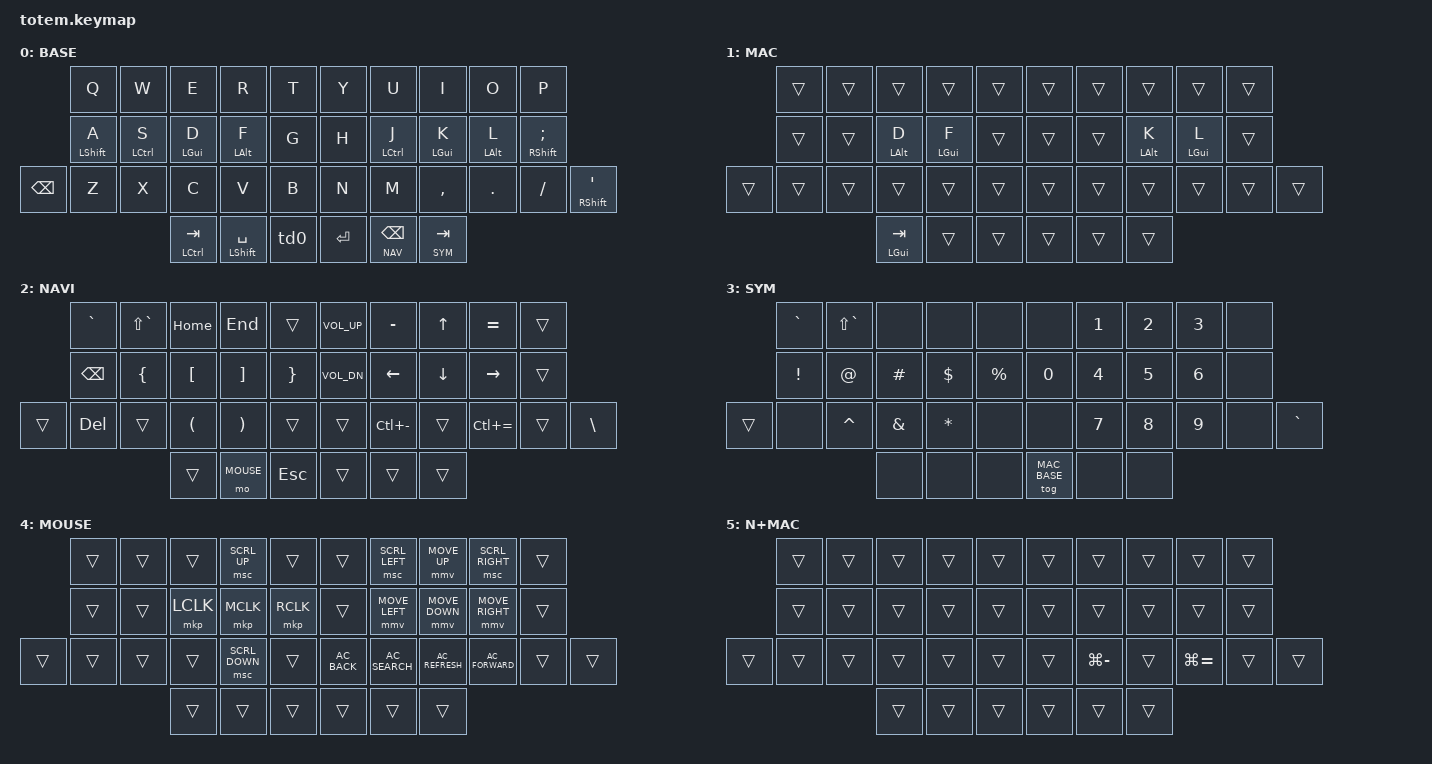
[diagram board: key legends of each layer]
//
//                                                        ▀▀▀▀▀     ▀▀▀▀▀          ▀▀█▀▀
//                                                        ▄▀▀▀▄  ▄  ▄▀▀▀▄  ▄  ▄▀▀▀▄  █  ▄▀▀▀▄
//                                                        █   █  █  █   █  █  █   █  █  █   █
//                                                         ▀▀▀   █   ▀▀▀   █   ▀▀▀   ▀   ▀▀▀
//                                                               █      ▄▄▄█▄▄▄    █   █
//                                                               ▀      █  █  █     █▄█
//                                                             ▀▀▀▀▀    █  █  █      ▀
//                                                                      ▀  ▀  ▀
//
// ▄▄▄▄▄▄▄▄▄▄▄▄▄▄▄▄▄▄▄▄▄▄▄▄▄▄▄▄▄▄▄▄▄▄▄▄▄▄▄▄▄▄▄▄▄▄▄▄▄▄▄▄▄▄▄▄▄▄▄▄▄▄▄▄▄▄▄▄▄▄▄▄▄▄▄▄▄▄▄▄▄▄▄▄▄▄▄▄▄▄▄▄▄▄▄▄▄▄▄▄▄▄▄▄▄▄▄▄▄▄▄▄▄▄▄▄▄▄▄▄▄▄▄▄▄▄▄▄▄▄▄▄▄▄▄▄▄▄▄▄▄▄▄▄▄▄▄▄▄


#include <behaviors.dtsi>
#include <dt-bindings/zmk/keys.h>
#include <dt-bindings/zmk/bt.h>
#include <dt-bindings/zmk/outputs.h>
#include <dt-bindings/zmk/pointing.h>

#define BASE      0
#define MAC_BASE  1
#define NAV       2
#define SYM       3
#define MOUSE     4
#define NAV_MAC   5

&mt {
  flavor = "tap-preferred";
  tapping-term-ms = <250>;
};

/ {
    combos {
            compatible = "zmk,combos";
            combo_mac_toggle {
                timeout-ms = <100>;
                key-positions = <10 23 27>;
                bindings = <&tog MAC_BASE>;
            };
    };

    // MAC_BASE only overrides plain BASE typing (it's layer 1, just above BASE).
    // NAV/SYM/MOUSE are numbered higher so they always win over MAC_BASE's
    // home-row swap when held at the same time -- otherwise MAC_BASE's
    // non-transparent D/F/K/L bindings would clobber NAV's arrow keys and
    // SYM's numbers at those same physical positions (this was a real bug,
    // found 2026-08-01: holding NAV while MAC_BASE was toggled broke arrows).
    // The one Mac-specific override that SHOULD win over NAV (the zoom
    // shortcut becoming Cmd+-/Cmd+= instead of Ctrl+-/Ctrl+=) is handled by
    // this conditional layer instead, which only activates when NAV and
    // MAC_BASE are both active at once.
    conditional_layers {
        compatible = "zmk,conditional-layers";
        mac_nav_zoom {
            if-layers = <NAV MAC_BASE>;
            then-layer = <NAV_MAC>;
        };
    };

    behaviors {
        td0: tap_dance_0 {
            compatible = "zmk,behavior-tap-dance";
            #binding-cells = <0>;
            tapping-term-ms = <200>;
            bindings = <&kp RET>, <&kp ESC>;
        };
    };

        keymap {
                compatible = "zmk,keymap";
// ▄▄▄▄▄▄▄▄▄▄▄▄▄▄▄▄▄▄▄▄▄▄▄▄▄▄▄▄▄▄▄▄▄▄▄▄▄▄▄▄▄▄▄▄▄▄▄▄▄▄▄▄▄▄▄▄▄▄▄▄▄▄▄▄▄▄▄▄▄▄▄▄▄▄▄▄▄▄▄▄▄▄▄▄▄▄▄▄▄▄▄▄▄▄▄▄▄▄▄▄▄▄▄▄▄▄▄▄▄▄▄▄▄▄▄▄▄▄▄▄▄▄▄▄▄▄▄▄▄▄▄▄▄▄▄▄▄▄▄▄▄▄▄▄▄▄▄▄▄

                base_layer {
// ┏━━━━━━━━━━━━━━━━━━━━━━━━━━━━━━━━━━━━━━━┓
label= "BASE"                              ;
// ┗━━━━━━━━━━━━━━━━━━━━━━━━━━━━━━━━━━━━━━━┛
//             ┏━━━━━━━━━━━┳━━━━━━━━━━━┳━━━━━━━━━━━┳━━━━━━━━━━━┳━━━━━━━━━━━┓   ┏━━━━━━━━━━━┳━━━━━━━━━━━┳━━━━━━━━━━━┳━━━━━━━━━━━┳━━━━━━━━━━━┓
//             ┃     Q     ┃     W     ┃     E     ┃     R     ┃     T     ┃   ┃     Y     ┃     U     ┃     I     ┃     O     ┃     P     ┃
//             ┣━━━━━━━━━━━╋━━━━━━━━━━━╋━━━━━━━━━━━╋━━━━━━━━━━━╋━━━━━━━━━━━┫   ┣━━━━━━━━━━━╋━━━━━━━━━━━╋━━━━━━━━━━━╋━━━━━━━━━━━╋━━━━━━━━━━━┫
//             ┃  SHIFT/A  ┃  CTRL/S   ┃  GUI/D    ┃   ALT/F   ┃     G     ┃   ┃     H     ┃  CTRL/J   ┃  GUI/K    ┃   ALT/L   ┃  SHIFT/;  ┃
// ┏━━━━━━━━━━━╋━━━━━━━━━━━╋━━━━━━━━━━━╋━━━━━━━━━━━╋━━━━━━━━━━━╋━━━━━━━━━━━┫   ┣━━━━━━━━━━━╋━━━━━━━━━━━╋━━━━━━━━━━━╋━━━━━━━━━━━╋━━━━━━━━━━━╋━━━━━━━━━━━┓
// ┃   BSPC    ┃     Z     ┃     X     ┃     C     ┃     V     ┃     B     ┃   ┃     N     ┃     M     ┃     ,     ┃     .     ┃     /     ┃SHIFT/QUOT ┃
// ┗━━━━━━━━━━━┻━━━━━━━━━━━┻━━━━━━━━━━━╋━━━━━━━━━━━╋━━━━━━━━━━━╋━━━━━━━━━━━┫   ┣━━━━━━━━━━━╋━━━━━━━━━━━╋━━━━━━━━━━━╋━━━━━━━━━━━┻━━━━━━━━━━━┻━━━━━━━━━━━┛
//                                     ┃ TAB/LCTRL ┃ SPC/SHFT  ┃ ENTR/ESC  ┃   ┃   ENTER   ┃ BSPC/NAV  ┃  SYM/TAB  ┃
//                                     ┗━━━━━━━━━━━┻━━━━━━━━━━━┻━━━━━━━━━━━┛   ┗━━━━━━━━━━━┻━━━━━━━━━━━┻━━━━━━━━━━━┛
 bindings = <
// ╷           ╷           ╷           ╷           ╷           ╷           ╷   ╷           ╷           ╷           ╷           ╷           ╷           ╷

                &kp Q           &kp W           &kp E           &kp R           &kp T               &kp Y           &kp U           &kp I           &kp O           &kp P
                &mt LSHFT A     &mt LCTRL S     &mt LGUI D      &mt LALT F      &kp G               &kp H           &mt LCTRL J     &mt LGUI K      &mt LALT L      &mt RSHFT SEMI
    &kp BSPC    &kp Z           &kp X           &kp C           &kp V           &kp B               &kp N           &kp M           &kp COMMA       &kp DOT         &kp FSLH        &mt RSHFT SQT
                                                &mt LCTRL TAB   &mt LSHFT SPACE &td0                &kp RET         &lt NAV BSPC    &lt SYM TAB
                        >;
                };

// ▄▄▄▄▄▄▄▄▄▄▄▄▄▄▄▄▄▄▄▄▄▄▄▄▄▄▄▄▄▄▄▄▄▄▄▄▄▄▄▄▄▄▄▄▄▄▄▄▄▄▄▄▄▄▄▄▄▄▄▄▄▄▄▄▄▄▄▄▄▄▄▄▄▄▄▄▄▄▄▄▄▄▄▄▄▄▄▄▄▄▄▄▄▄▄▄▄▄▄▄▄▄▄▄▄▄▄▄▄▄▄▄▄▄▄▄▄▄▄▄▄▄▄▄▄▄▄▄▄▄▄▄▄▄▄▄▄▄▄▄▄▄▄▄▄▄▄▄▄


                mac_base_layer {
// ┏━━━━━━━━━━━━━━━━━━━━━━━━━━━━━━━━━━━━━━━┓
label= "MAC"                               ;
// ┗━━━━━━━━━━━━━━━━━━━━━━━━━━━━━━━━━━━━━━━┛
// Layer 1 -- sits just above BASE, below NAV/SYM/MOUSE, so it only overrides
// plain typing and never fights those layers for shared physical keys. Swaps
// GUI<->ALT on the home-row mod-tap keys (D/F left, K/L right) and swaps the
// middle-left thumb key from CTRL to GUI/CMD. The zoom-shortcut override
// (Cmd+-/Cmd+= instead of Ctrl+-/Ctrl+= while NAV is also held) lives in the
// NAV_MAC conditional layer near the bottom of this file, not here.
// Toggled on/off via &tog MAC_BASE — reachable either by holding SYM, then
// tapping the key marked MAC/WIN on the SYM diagram below, or via the
// combo_mac_toggle combo (A + C + M pressed together) defined up top.
// (Moved from NAV to SYM 2026-08-01: NAV's hold key sits right next to this
// thumb key, so fast typing occasionally rolled over both and toggled the
// layer by accident. SYM's hold key has a key between them, so that rollover
// no longer happens.)
//             ┏━━━━━━━━━━━┳━━━━━━━━━━━┳━━━━━━━━━━━┳━━━━━━━━━━━┳━━━━━━━━━━━┓   ┏━━━━━━━━━━━┳━━━━━━━━━━━┳━━━━━━━━━━━┳━━━━━━━━━━━┳━━━━━━━━━━━┓
//             ┃           ┃           ┃           ┃           ┃           ┃   ┃           ┃           ┃           ┃           ┃           ┃
//             ┣━━━━━━━━━━━╋━━━━━━━━━━━╋━━━━━━━━━━━╋━━━━━━━━━━━╋━━━━━━━━━━━┫   ┣━━━━━━━━━━━╋━━━━━━━━━━━╋━━━━━━━━━━━╋━━━━━━━━━━━╋━━━━━━━━━━━┫
//             ┃           ┃           ┃   LALT D  ┃  LGUI F   ┃           ┃   ┃           ┃           ┃  LALT K   ┃   LGUI L  ┃           ┃
// ┏━━━━━━━━━━━╋━━━━━━━━━━━╋━━━━━━━━━━━╋━━━━━━━━━━━╋━━━━━━━━━━━╋━━━━━━━━━━━┫   ┣━━━━━━━━━━━╋━━━━━━━━━━━╋━━━━━━━━━━━╋━━━━━━━━━━━╋━━━━━━━━━━━╋━━━━━━━━━━━┓
// ┃           ┃           ┃           ┃           ┃           ┃           ┃   ┃           ┃           ┃           ┃           ┃           ┃           ┃
// ┗━━━━━━━━━━━┻━━━━━━━━━━━┻━━━━━━━━━━━╋━━━━━━━━━━━╋━━━━━━━━━━━╋━━━━━━━━━━━┫   ┣━━━━━━━━━━━╋━━━━━━━━━━━╋━━━━━━━━━━━╋━━━━━━━━━━━┻━━━━━━━━━━━┻━━━━━━━━━━━┛
//                                     ┃ TAB/LGUI  ┃           ┃           ┃   ┃           ┃           ┃           ┃
//                                     ┗━━━━━━━━━━━┻━━━━━━━━━━━┻━━━━━━━━━━━┛   ┗━━━━━━━━━━━┻━━━━━━━━━━━┻━━━━━━━━━━━┛
 bindings = <
// ╷           ╷           ╷           ╷           ╷           ╷           ╷   ╷           ╷           ╷           ╷           ╷           ╷           ╷

                &trans          &trans          &trans          &trans          &trans              &trans          &trans          &trans          &trans          &trans
                &trans          &trans          &mt LALT D      &mt LGUI F      &trans              &trans          &trans          &mt LALT K      &mt LGUI L      &trans
    &trans          &trans      &trans          &trans          &trans          &trans              &trans          &trans          &trans          &trans          &trans          &trans
                                                &mt LGUI TAB    &trans          &trans              &trans          &trans          &trans
                        >;
                };

// ▄▄▄▄▄▄▄▄▄▄▄▄▄▄▄▄▄▄▄▄▄▄▄▄▄▄▄▄▄▄▄▄▄▄▄▄▄▄▄▄▄▄▄▄▄▄▄▄▄▄▄▄▄▄▄▄▄▄▄▄▄▄▄▄▄▄▄▄▄▄▄▄▄▄▄▄▄▄▄▄▄▄▄▄▄▄▄▄▄▄▄▄▄▄▄▄▄▄▄▄▄▄▄▄▄▄▄▄▄▄▄▄▄▄▄▄▄▄▄▄▄▄▄▄▄▄▄▄▄▄▄▄▄▄▄▄▄▄▄▄▄▄▄▄▄▄▄▄▄


                nav_layer {
// ┏━━━━━━━━━━━━━━━━━━━━━━━━━━━━━━━━━━━━━━━┓
label= "NAVI"                              ;
// ┗━━━━━━━━━━━━━━━━━━━━━━━━━━━━━━━━━━━━━━━┛
//             ┏━━━━━━━━━━━┳━━━━━━━━━━━┳━━━━━━━━━━━┳━━━━━━━━━━━┳━━━━━━━━━━━┓   ┏━━━━━━━━━━━┳━━━━━━━━━━━┳━━━━━━━━━━━┳━━━━━━━━━━━┳━━━━━━━━━━━┓
//             ┃     `     ┃     ~     ┃    HOME   ┃    END    ┃           ┃   ┃    VOL+   ┃     -     ┃     UP    ┃     =     ┃           ┃
//             ┣━━━━━━━━━━━╋━━━━━━━━━━━╋━━━━━━━━━━━╋━━━━━━━━━━━╋━━━━━━━━━━━┫   ┣━━━━━━━━━━━╋━━━━━━━━━━━╋━━━━━━━━━━━╋━━━━━━━━━━━╋━━━━━━━━━━━┫
//             ┃    BSPC   ┃     {     ┃     [     ┃     ]     ┃     }     ┃   ┃    VOL-   ┃   LEFT    ┃    DOWN   ┃   RIGHT   ┃           ┃
// ┏━━━━━━━━━━━╋━━━━━━━━━━━╋━━━━━━━━━━━╋━━━━━━━━━━━╋━━━━━━━━━━━╋━━━━━━━━━━━┫   ┣━━━━━━━━━━━╋━━━━━━━━━━━╋━━━━━━━━━━━╋━━━━━━━━━━━╋━━━━━━━━━━━╋━━━━━━━━━━━┓
// ┃           ┃    DEL    ┃           ┃     (     ┃     )     ┃           ┃   ┃           ┃   ZOOM-   ┃           ┃  ZOOM+    ┃           ┃    \      ┃
// ┗━━━━━━━━━━━┻━━━━━━━━━━━┻━━━━━━━━━━━╋━━━━━━━━━━━╋━━━━━━━━━━━╋━━━━━━━━━━━┫   ┣━━━━━━━━━━━╋━━━━━━━━━━━╋━━━━━━━━━━━╋━━━━━━━━━━━┻━━━━━━━━━━━┻━━━━━━━━━━━┛
//                                     ┃           ┃   MOUSE   ┃    ESC    ┃   ┃           ┃           ┃           ┃
//                                     ┗━━━━━━━━━━━┻━━━━━━━━━━━┻━━━━━━━━━━━┛   ┗━━━━━━━━━━━┻━━━━━━━━━━━┻━━━━━━━━━━━┛
 bindings = <
// ╷           ╷           ╷           ╷           ╷           ╷           ╷   ╷           ╷           ╷           ╷           ╷           ╷           ╷

                &kp GRAVE       &kp LS(GRAVE)   &kp HOME        &kp END         &trans              &kp C_VOL_UP          &kp MINUS       &kp UP          &kp EQUAL      &trans 
                &kp BSPC        &kp LBRC        &kp LBKT        &kp RBKT        &kp RBRC            &kp C_VOL_DN          &kp LEFT        &kp DOWN        &kp RIGHT      &trans 
        &trans  &kp DEL         &trans          &kp LPAR        &kp RPAR        &trans              &trans          &kp LC(MINUS)   &trans          &kp LC(EQUAL)   &trans          &kp BSLH
                                                &trans          &mo MOUSE       &kp ESC             &trans          &trans          &trans
                        >;
                };

// ▄▄▄▄▄▄▄▄▄▄▄▄▄▄▄▄▄▄▄▄▄▄▄▄▄▄▄▄▄▄▄▄▄▄▄▄▄▄▄▄▄▄▄▄▄▄▄▄▄▄▄▄▄▄▄▄▄▄▄▄▄▄▄▄▄▄▄▄▄▄▄▄▄▄▄▄▄▄▄▄▄▄▄▄▄▄▄▄▄▄▄▄▄▄▄▄▄▄▄▄▄▄▄▄▄▄▄▄▄▄▄▄▄▄▄▄▄▄▄▄▄▄▄▄▄▄▄▄▄▄▄▄▄▄▄▄▄▄▄▄▄▄▄▄▄▄▄▄▄


                sim_layer {
// ┏━━━━━━━━━━━━━━━━━━━━━━━━━━━━━━━━━━━━━━━┓
label= "SYM"                               ;
// ┗━━━━━━━━━━━━━━━━━━━━━━━━━━━━━━━━━━━━━━━┛
//             ┏━━━━━━━━━━━┳━━━━━━━━━━━┳━━━━━━━━━━━┳━━━━━━━━━━━┳━━━━━━━━━━━┓   ┏━━━━━━━━━━━┳━━━━━━━━━━━┳━━━━━━━━━━━┳━━━━━━━━━━━┳━━━━━━━━━━━┓
//             ┃     `     ┃     ~     ┃           ┃           ┃           ┃   ┃           ┃     1     ┃     2     ┃     3     ┃           ┃
//             ┣━━━━━━━━━━━╋━━━━━━━━━━━╋━━━━━━━━━━━╋━━━━━━━━━━━╋━━━━━━━━━━━┫   ┣━━━━━━━━━━━╋━━━━━━━━━━━╋━━━━━━━━━━━╋━━━━━━━━━━━╋━━━━━━━━━━━┫
//             ┃     !     ┃     @     ┃     #     ┃     $     ┃     %     ┃   ┃     0     ┃     4     ┃     5     ┃     6     ┃           ┃
// ┏━━━━━━━━━━━╋━━━━━━━━━━━╋━━━━━━━━━━━╋━━━━━━━━━━━╋━━━━━━━━━━━╋━━━━━━━━━━━┫   ┣━━━━━━━━━━━╋━━━━━━━━━━━╋━━━━━━━━━━━╋━━━━━━━━━━━╋━━━━━━━━━━━╋━━━━━━━━━━━┓
// ┃           ┃           ┃     ^     ┃     &     ┃     *     ┃           ┃   ┃           ┃     7     ┃     8     ┃     9     ┃           ┃     `     ┃
// ┗━━━━━━━━━━━┻━━━━━━━━━━━┻━━━━━━━━━━━╋━━━━━━━━━━━╋━━━━━━━━━━━╋━━━━━━━━━━━┫   ┣━━━━━━━━━━━╋━━━━━━━━━━━╋━━━━━━━━━━━╋━━━━━━━━━━━┻━━━━━━━━━━━┻━━━━━━━━━━━┛
//                                     ┃           ┃           ┃           ┃   ┃  MAC/WIN  ┃           ┃           ┃
//                                     ┗━━━━━━━━━━━┻━━━━━━━━━━━┻━━━━━━━━━━━┛   ┗━━━━━━━━━━━┻━━━━━━━━━━━┻━━━━━━━━━━━┛
 bindings = <
// ╷           ╷           ╷           ╷           ╷           ╷           ╷   ╷           ╷           ╷           ╷           ╷           ╷           ╷

                &kp GRAVE       &kp LS(GRAVE)   &none           &none           &none               &none           &kp N1          &kp N2          &kp N3          &none
                &kp EXCL        &kp AT          &kp HASH        &kp DLLR        &kp PRCNT           &kp N0          &kp N4          &kp N5          &kp N6          &none
    &trans          &none       &kp CARET       &kp AMPS        &kp ASTRK       &none               &none           &kp N7          &kp N8          &kp N9          &none           &kp GRAVE
                                                &none           &none           &none               &tog MAC_BASE   &none           &none
                        >;
                };

// ▄▄▄▄▄▄▄▄▄▄▄▄▄▄▄▄▄▄▄▄▄▄▄▄▄▄▄▄▄▄▄▄▄▄▄▄▄▄▄▄▄▄▄▄▄▄▄▄▄▄▄▄▄▄▄▄▄▄▄▄▄▄▄▄▄▄▄▄▄▄▄▄▄▄▄▄▄▄▄▄▄▄▄▄▄▄▄▄▄▄▄▄▄▄▄▄▄▄▄▄▄▄▄▄▄▄▄▄▄▄▄▄▄▄▄▄▄▄▄▄▄▄▄▄▄▄▄▄▄▄▄▄▄▄▄▄▄▄▄▄▄▄▄▄▄▄▄▄▄


                mouse_layer {
// ┏━━━━━━━━━━━━━━━━━━━━━━━━━━━━━━━━━━━━━━━┓
label= "MOUSE"                             ;
// ┗━━━━━━━━━━━━━━━━━━━━━━━━━━━━━━━━━━━━━━━┛
//             ┏━━━━━━━━━━━┳━━━━━━━━━━━┳━━━━━━━━━━━┳━━━━━━━━━━━┳━━━━━━━━━━━┓   ┏━━━━━━━━━━━┳━━━━━━━━━━━┳━━━━━━━━━━━┳━━━━━━━━━━━┳━━━━━━━━━━━┓
//             ┃           ┃           ┃           ┃  SCRL_UP  ┃           ┃   ┃           ┃ SCRL_LEFT ┃  MOVE_UP  ┃ SCRL_RIGHT┃           ┃
//             ┣━━━━━━━━━━━╋━━━━━━━━━━━╋━━━━━━━━━━━╋━━━━━━━━━━━╋━━━━━━━━━━━┫   ┣━━━━━━━━━━━╋━━━━━━━━━━━╋━━━━━━━━━━━╋━━━━━━━━━━━╋━━━━━━━━━━━┫
//             ┃           ┃           ┃   LCLK    ┃   MCLK    ┃   RCLK    ┃   ┃           ┃ MOVE_LEFT ┃ MOVE_DOWN ┃ MOVE_RIGHT┃           ┃
// ┏━━━━━━━━━━━╋━━━━━━━━━━━╋━━━━━━━━━━━╋━━━━━━━━━━━╋━━━━━━━━━━━╋━━━━━━━━━━━┫   ┣━━━━━━━━━━━╋━━━━━━━━━━━╋━━━━━━━━━━━╋━━━━━━━━━━━╋━━━━━━━━━━━╋━━━━━━━━━━━┓
// ┃           ┃           ┃           ┃           ┃ SCRL_DOWN ┃           ┃   ┃  BACK     ┃ SEARCH    ┃  REFRESH  ┃ FORWARD   ┃           ┃           ┃
// ┗━━━━━━━━━━━┻━━━━━━━━━━━┻━━━━━━━━━━━╋━━━━━━━━━━━╋━━━━━━━━━━━╋━━━━━━━━━━━┫   ┣━━━━━━━━━━━╋━━━━━━━━━━━╋━━━━━━━━━━━╋━━━━━━━━━━━┻━━━━━━━━━━━┻━━━━━━━━━━━┛
//                                     ┃           ┃           ┃           ┃   ┃           ┃           ┃           ┃
//                                     ┗━━━━━━━━━━━┻━━━━━━━━━━━┻━━━━━━━━━━━┛   ┗━━━━━━━━━━━┻━━━━━━━━━━━┻━━━━━━━━━━━┛
 bindings = <
// ╷           ╷           ╷           ╷           ╷           ╷           ╷   ╷           ╷           ╷           ╷           ╷           ╷           ╷

                &trans          &trans          &trans          &msc SCRL_UP    &trans              &trans          &msc SCRL_LEFT  &mmv MOVE_UP    &msc SCRL_RIGHT &trans
                &trans          &trans          &mkp LCLK       &mkp MCLK       &mkp RCLK           &trans          &mmv MOVE_LEFT  &mmv MOVE_DOWN  &mmv MOVE_RIGHT &trans
    &trans          &trans      &trans          &trans          &msc SCRL_DOWN  &trans              &kp C_AC_BACK   &kp C_AC_SEARCH &kp C_AC_REFRESH &kp C_AC_FORWARD &trans         &trans
                                                &trans          &trans          &trans              &trans          &trans          &trans
                        >;
                };

// ▄▄▄▄▄▄▄▄▄▄▄▄▄▄▄▄▄▄▄▄▄▄▄▄▄▄▄▄▄▄▄▄▄▄▄▄▄▄▄▄▄▄▄▄▄▄▄▄▄▄▄▄▄▄▄▄▄▄▄▄▄▄▄▄▄▄▄▄▄▄▄▄▄▄▄▄▄▄▄▄▄▄▄▄▄▄▄▄▄▄▄▄▄▄▄▄▄▄▄▄▄▄▄▄▄▄▄▄▄▄▄▄▄▄▄▄▄▄▄▄▄▄▄▄▄▄▄▄▄▄▄▄▄▄▄▄▄▄▄▄▄▄▄▄▄▄▄▄▄


                nav_mac_layer {
// ┏━━━━━━━━━━━━━━━━━━━━━━━━━━━━━━━━━━━━━━━┓
label= "N+MAC"                             ;
// ┗━━━━━━━━━━━━━━━━━━━━━━━━━━━━━━━━━━━━━━━┛
// Layer 5, the highest layer. Auto-activated by the conditional_layers node
// up top ONLY when NAV and MAC_BASE are both active at once -- entirely
// transparent except NAV's zoom keys, which become Cmd+-/Cmd+= here instead
// of NAV's own Ctrl+-/Ctrl+=. Never activated directly by a binding.
//             ┏━━━━━━━━━━━┳━━━━━━━━━━━┳━━━━━━━━━━━┳━━━━━━━━━━━┳━━━━━━━━━━━┓   ┏━━━━━━━━━━━┳━━━━━━━━━━━┳━━━━━━━━━━━┳━━━━━━━━━━━┳━━━━━━━━━━━┓
//             ┃           ┃           ┃           ┃           ┃           ┃   ┃           ┃           ┃           ┃           ┃           ┃
//             ┣━━━━━━━━━━━╋━━━━━━━━━━━╋━━━━━━━━━━━╋━━━━━━━━━━━╋━━━━━━━━━━━┫   ┣━━━━━━━━━━━╋━━━━━━━━━━━╋━━━━━━━━━━━╋━━━━━━━━━━━╋━━━━━━━━━━━┫
//             ┃           ┃           ┃           ┃           ┃           ┃   ┃           ┃           ┃           ┃           ┃           ┃
// ┏━━━━━━━━━━━╋━━━━━━━━━━━╋━━━━━━━━━━━╋━━━━━━━━━━━╋━━━━━━━━━━━╋━━━━━━━━━━━┫   ┣━━━━━━━━━━━╋━━━━━━━━━━━╋━━━━━━━━━━━╋━━━━━━━━━━━╋━━━━━━━━━━━╋━━━━━━━━━━━┓
// ┃           ┃           ┃           ┃           ┃           ┃           ┃   ┃           ┃  ZOOM-    ┃           ┃  ZOOM+    ┃           ┃           ┃
// ┗━━━━━━━━━━━┻━━━━━━━━━━━┻━━━━━━━━━━━╋━━━━━━━━━━━╋━━━━━━━━━━━╋━━━━━━━━━━━┫   ┣━━━━━━━━━━━╋━━━━━━━━━━━╋━━━━━━━━━━━╋━━━━━━━━━━━┻━━━━━━━━━━━┻━━━━━━━━━━━┛
//                                     ┃           ┃           ┃           ┃   ┃           ┃           ┃           ┃
//                                     ┗━━━━━━━━━━━┻━━━━━━━━━━━┻━━━━━━━━━━━┛   ┗━━━━━━━━━━━┻━━━━━━━━━━━┻━━━━━━━━━━━┛
 bindings = <
// ╷           ╷           ╷           ╷           ╷           ╷           ╷   ╷           ╷           ╷           ╷           ╷           ╷           ╷

                &trans          &trans          &trans          &trans          &trans              &trans          &trans          &trans          &trans          &trans
                &trans          &trans          &trans          &trans          &trans              &trans          &trans          &trans          &trans          &trans
    &trans          &trans      &trans          &trans          &trans          &trans              &trans          &kp LG(MINUS)   &trans          &kp LG(EQUAL)   &trans          &trans
                                                &trans          &trans          &trans              &trans          &trans          &trans
                        >;
                };

        };
};
